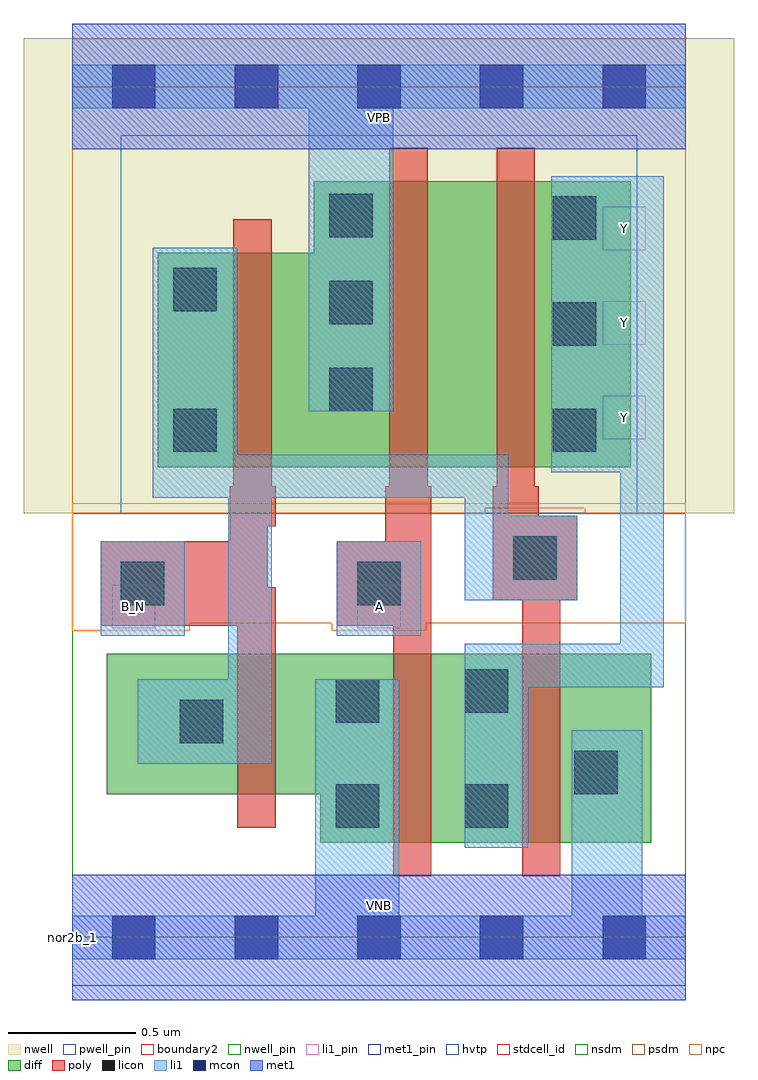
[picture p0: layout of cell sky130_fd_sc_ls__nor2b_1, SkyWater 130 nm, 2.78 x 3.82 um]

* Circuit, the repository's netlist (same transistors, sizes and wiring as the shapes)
* Copyright 2020 The SkyWater PDK Authors
*
* Licensed under the Apache License, Version 2.0 (the "License");
* you may not use this file except in compliance with the License.
* You may obtain a copy of the License at
*
*     https://www.apache.org/licenses/LICENSE-2.0
*
* Unless required by applicable law or agreed to in writing, software
* distributed under the License is distributed on an "AS IS" BASIS,
* WITHOUT WARRANTIES OR CONDITIONS OF ANY KIND, either express or implied.
* See the License for the specific language governing permissions and
* limitations under the License.
*
* SPDX-License-Identifier: Apache-2.0

.SUBCKT sky130_fd_sc_ls__nor2b_1 A B_N VGND VNB VPB VPWR Y
*.PININFO A:I B_N:I VGND:I VNB:I VPB:I VPWR:I Y:O
MMP0 VPWR A sndPA VPB sky130_fd_pr__pfet_01v8_hvt m=1 w=1.12U l=0.15U mult=1 sa=0.265
+ sb=0.265 sd=0.28 area=0.063 perim=1.14
MMP1 sndPA B Y VPB sky130_fd_pr__pfet_01v8_hvt m=1 w=1.12U l=0.15U mult=1 sa=0.265
+ sb=0.265 sd=0.28 area=0.063 perim=1.14
MMIP1 B B_N VPWR VPB sky130_fd_pr__pfet_01v8_hvt m=1 w=0.84U l=0.15U mult=1 sa=0.265
+ sb=0.265 sd=0.28 area=0.063 perim=1.14
MMN0 Y A VGND VNB sky130_fd_pr__nfet_01v8 m=1 w=0.74U l=0.15U mult=1 sa=0.265 sb=0.265
+ sd=0.28 area=0.063 perim=1.14
MMN1 Y B VGND VNB sky130_fd_pr__nfet_01v8 m=1 w=0.74U l=0.15U mult=1 sa=0.265 sb=0.265
+ sd=0.28 area=0.063 perim=1.14
MMIN1 B B_N VGND VNB sky130_fd_pr__nfet_01v8 m=1 w=0.55U l=0.15U mult=1 sa=0.265
+ sb=0.265 sd=0.28 area=0.063 perim=1.14
.ENDS sky130_fd_sc_ls__nor2b_1

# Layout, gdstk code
import gdstk
lib = gdstk.Library(unit=1e-6, precision=1e-09)
def R(c, l, rs):  # rectangles x0, y0, x1, y1
    for r in rs: c.add(gdstk.rectangle(r[:2], r[2:], *l))
def A(c, l, x, y, w, h, nx, ny, dx, dy):  # array of equal rectangles
    R(c, l, [(x+i*dx, y+j*dy, x+i*dx+w, y+j*dy+h) for i in range(nx) for j in range(ny)])
def P(c, l, *ps):  # polygons
    for p in ps: c.add(gdstk.Polygon(p, *l))
nwell_pin = (64, 16)
nwell = (64, 20)
diff = (65, 20)
poly = (66, 20)
licon = (66, 44)
li1_pin = (67, 16)
li1 = (67, 20)
mcon = (67, 44)
met1_pin = (68, 16)
met1 = (68, 20)
hvtp = (78, 44)
stdcell_id = (81, 4)
nsdm = (93, 44)
psdm = (94, 20)
npc = (95, 20)
pwell_pin = (122, 16)
boundary2 = (236, 0)

sky130_fd_sc_ls__nor2b_1 = lib.new_cell('sky130_fd_sc_ls__nor2b_1')
R(sky130_fd_sc_ls__nor2b_1, nwell_pin, [(0,3.085,2.4,3.33)])
R(sky130_fd_sc_ls__nor2b_1, nwell, [(-0.19,1.66,2.59,3.52)])
P(sky130_fd_sc_ls__nor2b_1, diff, [(2.185,2.96),(0.945,2.96),(0.945,2.68),(0.335,2.68),(0.335,1.84),(2.185,1.84)],
  [(2.265,1.11),(0.135,1.11),(0.135,0.56),(0.97,0.56),(0.97,0.37),(2.265,0.37)])
P(sky130_fd_sc_ls__nor2b_1, poly, [(0.795,1.37),(0.765,1.37),(0.765,1.61),(0.795,1.61),(0.795,1.765),(0.78,1.765),(0.78,2.81),(0.63,2.81),(0.63,1.765),(0.615,1.765),(0.615,1.55),(0.11,1.55),(0.11,1.22),(0.645,1.22),(0.645,0.43),(0.795,0.43)],
  [(1.405,1.765),(1.39,1.765),(1.39,3.09),(1.24,3.09),(1.24,1.765),(1.225,1.765),(1.225,1.55),(1.035,1.55),(1.035,1.22),(1.255,1.22),(1.255,0.24),(1.405,0.24)],
  [(1.975,1.65),(1.825,1.65),(1.825,1.765),(1.81,1.765),(1.81,3.09),(1.66,3.09),(1.66,1.765),(1.645,1.765),(1.645,1.32),(1.76,1.32),(1.76,0.24),(1.91,0.24),(1.91,1.32),(1.975,1.32)])
A(sky130_fd_sc_ls__nor2b_1, licon, 1.88, 1.9, 0.17, 0.17, 1, 3, 0, 0.415)
A(sky130_fd_sc_ls__nor2b_1, licon, 1.005, 2.06, 0.17, 0.17, 1, 3, 0, 0.34)
R(sky130_fd_sc_ls__nor2b_1, licon, [(1.03,0.43,1.2,0.6), (1.535,0.43,1.705,0.6), (1.965,0.56,2.135,0.73), (0.42,0.76,0.59,0.93), (1.03,0.84,1.2,1.01), (1.535,0.88,1.705,1.05), (0.19,1.3,0.36,1.47), (1.115,1.3,1.285,1.47), (1.725,1.4,1.895,1.57), (0.395,1.9,0.565,2.07), (0.395,2.45,0.565,2.62)])
A(sky130_fd_sc_ls__nor2b_1, li1_pin, 2.075, 1.95, 0.17, 0.17, 1, 3, 0, 0.37)
R(sky130_fd_sc_ls__nor2b_1, li1_pin, [(0.155,1.21,0.325,1.38), (1.115,1.21,1.285,1.38)])
R(sky130_fd_sc_ls__nor2b_1, li1, [(0.11,1.18,0.44,1.55), (1.035,1.18,1.365,1.55)])
P(sky130_fd_sc_ls__nor2b_1, li1, [(0.925,2.06),(0.925,3.245),(0,3.245),(0,3.415),(2.4,3.415),(2.4,3.245),(1.255,3.245),(1.255,2.06)],
  [(1.955,0.085),(1.955,0.81),(2.23,0.81),(2.23,0.085),(2.4,0.085),(2.4,-0.085),(0,-0.085),(0,0.085),(0.95,0.085),(0.95,1.01),(1.28,1.01),(1.28,0.085)],
  [(0.645,1.89),(1.705,1.89),(1.705,1.65),(1.975,1.65),(1.975,1.32),(1.535,1.32),(1.535,1.72),(0.78,1.72),(0.78,0.68),(0.255,0.68),(0.255,1.01),(0.61,1.01),(0.61,1.72),(0.315,1.72),(0.315,2.7),(0.645,2.7)],
  [(1.875,1.82),(1.875,2.98),(2.315,2.98),(2.315,0.98),(1.785,0.98),(1.785,0.35),(1.535,0.35),(1.535,1.15),(2.145,1.15),(2.145,1.82)])
A(sky130_fd_sc_ls__nor2b_1, mcon, 0.155, -0.085, 0.17, 0.17, 5, 2, 0.48, 3.33)
R(sky130_fd_sc_ls__nor2b_1, met1_pin, [(0,0,2.4,0.245), (0,3.085,2.4,3.33)])
R(sky130_fd_sc_ls__nor2b_1, met1, [(0,-0.245,2.4,0.245), (0,3.085,2.4,3.575)])
R(sky130_fd_sc_ls__nor2b_1, hvtp, [(0.19,1.66,2.21,3.14)])
R(sky130_fd_sc_ls__nor2b_1, stdcell_id, [(0,0,2.4,3.33)])
R(sky130_fd_sc_ls__nor2b_1, nsdm, [(0,-0.19,2.4,1.66)])
P(sky130_fd_sc_ls__nor2b_1, psdm, [(2.4,3.52),(0,3.52),(0,1.66),(1.615,1.66),(1.615,1.68),(2.005,1.68),(2.005,1.66),(2.4,1.66)])
P(sky130_fd_sc_ls__nor2b_1, npc, [(2.4,1.7),(0,1.7),(0,1.2),(0.46,1.2),(0.46,1.23),(1.015,1.23),(1.015,1.2),(1.385,1.2),(1.385,1.23),(2.4,1.23)])
R(sky130_fd_sc_ls__nor2b_1, pwell_pin, [(0,0,2.4,0.245)])
R(sky130_fd_sc_ls__nor2b_1, boundary2, [(0,0,2.4,3.33)])
sky130_fd_sc_ls__nor2b_1.add(gdstk.Label('nor2b_1', (0,0), layer=83, texttype=44))
sky130_fd_sc_ls__nor2b_1.add(gdstk.Label('VNB', (1.2,0.123), layer=64, texttype=59))
sky130_fd_sc_ls__nor2b_1.add(gdstk.Label('VPB', (1.2,3.208), layer=64, texttype=5))
sky130_fd_sc_ls__nor2b_1.add(gdstk.Label('VPWR', (1.2,3.208), layer=68, texttype=5))
sky130_fd_sc_ls__nor2b_1.add(gdstk.Label('VGND', (1.2,0.123), layer=68, texttype=5))
sky130_fd_sc_ls__nor2b_1.add(gdstk.Label('B_N', (0.24,1.295), layer=67, texttype=5))
sky130_fd_sc_ls__nor2b_1.add(gdstk.Label('Y', (2.16,2.035), layer=67, texttype=5))
sky130_fd_sc_ls__nor2b_1.add(gdstk.Label('Y', (2.16,2.405), layer=67, texttype=5))
sky130_fd_sc_ls__nor2b_1.add(gdstk.Label('Y', (2.16,2.775), layer=67, texttype=5))
sky130_fd_sc_ls__nor2b_1.add(gdstk.Label('A', (1.2,1.295), layer=67, texttype=5))

lib.write_gds('sky130_fd_sc_ls__nor2b_1.gds')
